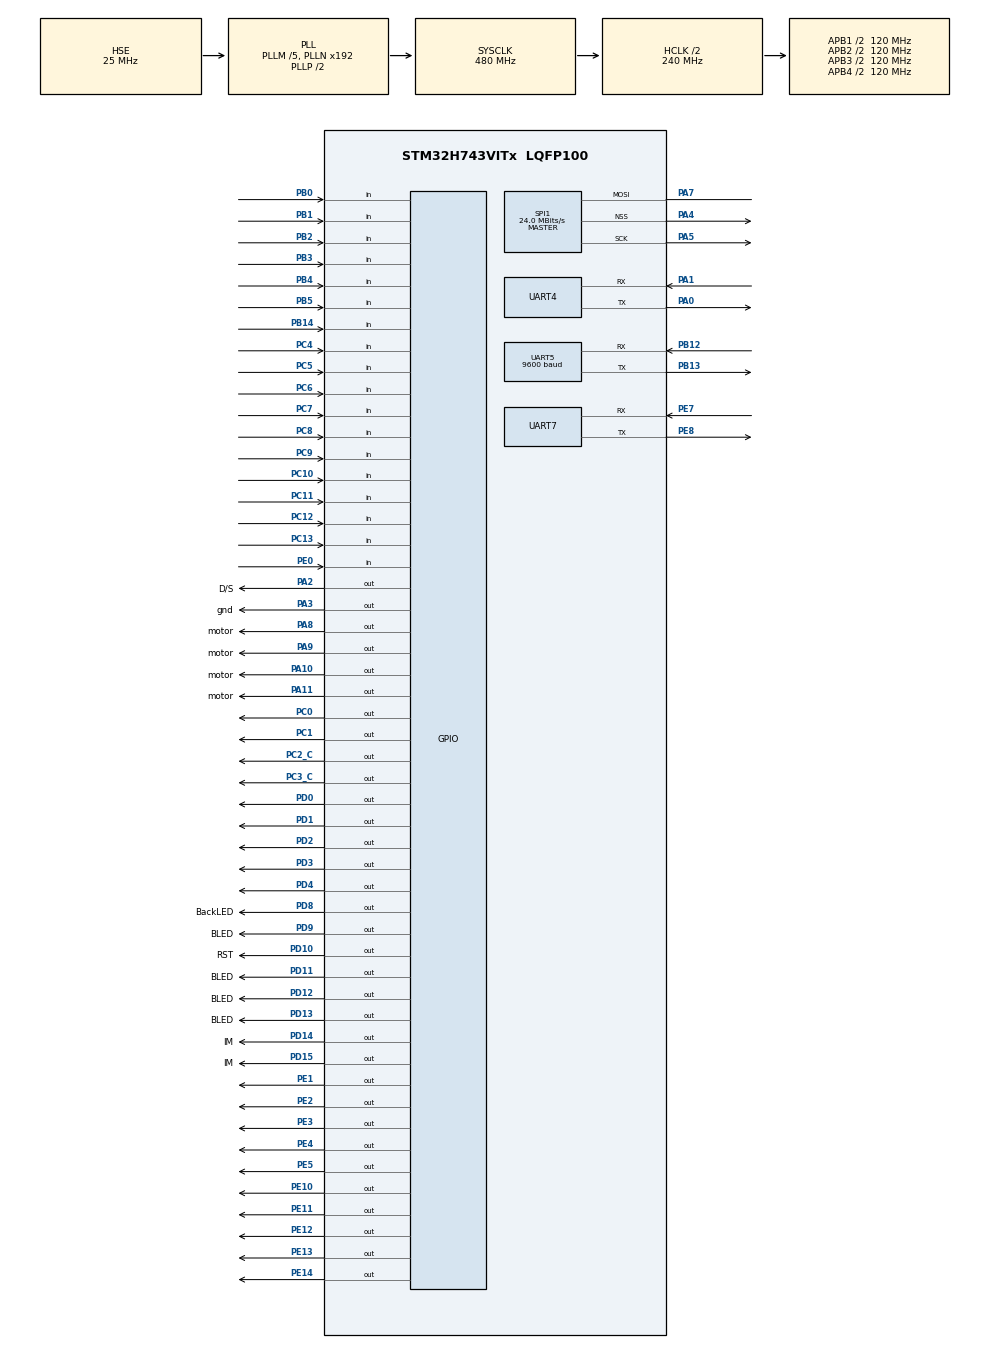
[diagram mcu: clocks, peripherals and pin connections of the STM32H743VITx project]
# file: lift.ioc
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FREERTOS.Tasks01=defaultTask,24,128,StartDefaultTask,Default,NULL,Dynamic,NULL,NULL
Mcu.Family=STM32H7
Mcu.Name=STM32H743VITx
Mcu.Package=LQFP100
NVIC.PriorityGroup=NVIC_PRIORITYGROUP_4
NVIC.UART4_IRQn=true\:5\:0\:false\:false\:true\:true\:true\:true
PA0.Mode=Asynchronous
PA0.Signal=UART4_TX
PA1.Mode=Asynchronous
PA1.Signal=UART4_RX
PA10.GPIO_Label=motor
PA10.Signal=GPIO_Output
PA11.GPIO_Label=motor
PA11.Signal=GPIO_Output
PA2.GPIO_Label=D/S
PA2.Signal=GPIO_Output
PA3.GPIO_Label=gnd
PA3.Signal=GPIO_Output
PA4.Mode=NSS_Signal_Hard_Output
PA4.Signal=SPI1_NSS
PA5.Mode=Simplex_Bidirectional_Master
PA5.Signal=SPI1_SCK
PA7.Mode=Simplex_Bidirectional_Master
PA7.Signal=SPI1_MOSI
PA8.GPIO_Label=motor
PA8.Signal=GPIO_Output
PA9.GPIO_Label=motor
PA9.Signal=GPIO_Output
PB0.Signal=GPIO_Input
PB1.Signal=GPIO_Input
PB12.Mode=Asynchronous
PB12.Signal=UART5_RX
PB13.Mode=Asynchronous
PB13.Signal=UART5_TX
PB14.Signal=GPIO_Input
PB2.Signal=GPIO_Input
PB3\ (JTDO/TRACESWO).Signal=GPIO_Input
PB4\ (NJTRST).Signal=GPIO_Input
PB5.Signal=GPIO_Input
PC0.Signal=GPIO_Output
PC1.Signal=GPIO_Output
PC10.Signal=GPIO_Input
PC11.Signal=GPIO_Input
PC12.Signal=GPIO_Input
PC13.Signal=GPIO_Input
PC2_C.Signal=GPIO_Output
PC3_C.Signal=GPIO_Output
PC4.Signal=GPIO_Input
PC5.Signal=GPIO_Input
PC6.Signal=GPIO_Input
PC7.Signal=GPIO_Input
PC8.Signal=GPIO_Input
PC9.Signal=GPIO_Input
PD0.Signal=GPIO_Output
PD1.Signal=GPIO_Output
PD10.GPIO_Label=RST
PD10.PinState=GPIO_PIN_SET
PD10.Signal=GPIO_Output
PD11.GPIO_Label=BLED
PD11.Signal=GPIO_Output
PD12.GPIO_Label=BLED
PD12.Signal=GPIO_Output
PD13.GPIO_Label=BLED
PD13.Signal=GPIO_Output
PD14.GPIO_Label=IM
PD14.PinState=GPIO_PIN_SET
PD14.Signal=GPIO_Output
PD15.GPIO_Label=IM
PD15.PinState=GPIO_PIN_SET
PD15.Signal=GPIO_Output
PD2.Signal=GPIO_Output
PD3.Signal=GPIO_Output
PD4.Signal=GPIO_Output
PD8.GPIO_Label=BackLED
PD8.Signal=GPIO_Output
PD9.GPIO_Label=BLED
PD9.Signal=GPIO_Output
PE0.Signal=GPIO_Input
PE1.PinState=GPIO_PIN_SET
PE1.Signal=GPIO_Output
PE10.PinState=GPIO_PIN_SET
PE10.Signal=GPIO_Output
PE11.PinState=GPIO_PIN_SET
PE11.Signal=GPIO_Output
PE12.PinState=GPIO_PIN_SET
PE12.Signal=GPIO_Output
PE13.PinState=GPIO_PIN_SET
PE13.Signal=GPIO_Output
PE14.PinState=GPIO_PIN_SET
PE14.Signal=GPIO_Output
PE2.PinState=GPIO_PIN_SET
PE2.Signal=GPIO_Output
PE3.PinState=GPIO_PIN_SET
PE3.Signal=GPIO_Output
PE4.PinState=GPIO_PIN_SET
PE4.Signal=GPIO_Output
PE5.PinState=GPIO_PIN_SET
PE5.Signal=GPIO_Output
PE7.Mode=Asynchronous
PE7.Signal=UART7_RX
PE8.Mode=Asynchronous
PE8.Signal=UART7_TX
PH0-OSC_IN\ (PH0).Mode=HSE-External-Oscillator
PH0-OSC_IN\ (PH0).Signal=RCC_OSC_IN
PH1-OSC_OUT\ (PH1).Mode=HSE-External-Oscillator
PH1-OSC_OUT\ (PH1).Signal=RCC_OSC_OUT
ProjectManager.HeapSize=0x200
ProjectManager.StackSize=0x400
ProjectManager.TargetToolchain=STM32CubeIDE
RCC.ADCFreq_Value=50390625
RCC.APB1Freq_Value=120000000
RCC.APB2Freq_Value=120000000
RCC.APB3Freq_Value=120000000
RCC.APB4Freq_Value=120000000
RCC.CortexFreq_Value=480000000
RCC.D1PPRE=RCC_APB3_DIV2
RCC.D2PPRE1=RCC_APB1_DIV2
RCC.D2PPRE2=RCC_APB2_DIV2
RCC.D3PPRE=RCC_APB4_DIV2
RCC.DIVM1=5
RCC.DIVN1=192
RCC.DIVQ1=20
RCC.HCLKFreq_Value=240000000
RCC.HPRE=RCC_HCLK_DIV2
RCC.PLLSourceVirtual=RCC_PLLSOURCE_HSE
RCC.SYSCLKFreq_VALUE=480000000
RCC.SYSCLKSource=RCC_SYSCLKSOURCE_PLLCLK
RCC.USBFreq_Value=48000000
SPI1.BaudRatePrescaler=SPI_BAUDRATEPRESCALER_2
SPI1.CalculateBaudRate=24.0 MBits/s
SPI1.DataSize=SPI_DATASIZE_8BIT
SPI1.Direction=SPI_DIRECTION_1LINE
SPI1.Mode=SPI_MODE_MASTER
SPI1.NSSPMode=SPI_NSS_PULSE_DISABLE
SPI1.VirtualNSS=VM_NSSHARD
SPI1.VirtualType=VM_MASTER
UART5.BaudRate=9600
VP_FREERTOS_VS_CMSIS_V2.Mode=CMSIS_V2
board=custom

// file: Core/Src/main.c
/* USER CODE BEGIN Header */
/**
  ******************************************************************************
  * @file           : main.c
  * @brief          : Main program body
  ******************************************************************************
  * @attention
  *
  * <h2><center>&copy; Copyright (c) 2022 STMicroelectronics.
  * All rights reserved.</center></h2>
  *
  * This software component is licensed by ST under BSD 3-Clause license,
  * the "License"; You may not use this file except in compliance with the
  * License. You may obtain a copy of the License at:
  *                        opensource.org/licenses/BSD-3-Clause
  *
  ******************************************************************************
  */
/* USER CODE END Header */
#include "main.h"
#include "cmsis_os.h"

SPI_HandleTypeDef hspi1;

UART_HandleTypeDef huart4;
UART_HandleTypeDef huart5;
UART_HandleTypeDef huart7;

/* Definitions for defaultTask */
osThreadId_t defaultTaskHandle;
const osThreadAttr_t defaultTask_attributes = {
  .name = "defaultTask",
  .stack_size = 128 * 4,
  .priority = (osPriority_t) osPriorityNormal,
};
/* USER CODE BEGIN PV */
osThreadId_t liftSchedulerHandle;
const osThreadAttr_t liftScheduler_attr = {
  .name = "defaultTask1",
  .stack_size = 128 * 4,
  .priority = (osPriority_t) osPriorityNormal,
};
osThreadId_t virtualMachineHandle;
const osThreadAttr_t virtualMachine_attr = {
  .name = "virtualMachine",
  .stack_size = 128 * 4,
  .priority = (osPriority_t) osPriorityNormal,
};
osThreadId_t displayHandle;
const osThreadAttr_t display_attr = {
  .name = "display",
  .stack_size = 128 * 4,
  .priority = (osPriority_t) osPriorityNormal,
};
/* USER CODE END PV */

void SystemClock_Config(void);
static void MX_GPIO_Init(void);
static void MX_SPI1_Init(void);
static void MX_UART4_Init(void);
static void MX_UART5_Init(void);
static void MX_UART7_Init(void);
void StartDefaultTask(void *argument);

/* USER CODE BEGIN PFP */
void liftScheduler(void *argument);
void virtualMachine(void* arg);
void display(void* arg);
/* USER CODE END PFP */

/* USER CODE BEGIN 0 */
uint8_t Rx_Data;
void HAL_UART_RxCpltCallback(UART_HandleTypeDef *huart)
{
	extern uint8_t emergency;
	uint8_t x=0x07;
    if(huart->Instance == UART4)
    {
    	if(Rx_Data==0x01){
    		emergency=1;
    		HAL_UART_Transmit(&huart4, &x, 1, 100);
    	}
    }
    HAL_UART_Receive_IT(huart,Rx_Data,1);
}
/* USER CODE END 0 */

int main(void)
{

  /* MCU Configuration--------------------------------------------------------*/

  /* Reset of all peripherals, Initializes the Flash interface and the Systick. */
  HAL_Init();

  /* Configure the system clock */
  SystemClock_Config();

  /* Initialize all configured peripherals */
  MX_GPIO_Init();
  MX_SPI1_Init();
  MX_UART4_Init();
  MX_UART5_Init();
  MX_UART7_Init();
  /* USER CODE BEGIN 2 */

  HAL_UART_Receive_IT(&huart4,&Rx_Data,1);
  /* USER CODE END 2 */

  /* Init scheduler */
  osKernelInitialize();

  /* Create the thread(s) */
  /* creation of defaultTask */
  defaultTaskHandle = osThreadNew(StartDefaultTask, NULL, &defaultTask_attributes);

  /* USER CODE BEGIN RTOS_THREADS */
  /* add threads, ... */
  liftSchedulerHandle=osThreadNew(liftScheduler,NULL,&liftScheduler_attr);
  virtualMachineHandle=osThreadNew(virtualMachine,NULL,&virtualMachine_attr);
  displayHandle=osThreadNew(display, &hspi1, &display_attr);
  /* USER CODE END RTOS_THREADS */

  /* Start scheduler */
  osKernelStart();

  /* We should never get here as control is now taken by the scheduler */
  /* Infinite loop */
  while (1)
  {

  }
}

void SystemClock_Config(void)
{
  RCC_OscInitTypeDef RCC_OscInitStruct = {0};
  RCC_ClkInitTypeDef RCC_ClkInitStruct = {0};

  /** Supply configuration update enable
  */
  HAL_PWREx_ConfigSupply(PWR_LDO_SUPPLY);
  /** Configure the main internal regulator output voltage
  */
  __HAL_PWR_VOLTAGESCALING_CONFIG(PWR_REGULATOR_VOLTAGE_SCALE0);

  while(!__HAL_PWR_GET_FLAG(PWR_FLAG_VOSRDY)) {}
  /** Initializes the RCC Oscillators according to the specified parameters
  * in the RCC_OscInitTypeDef structure.
  */
  RCC_OscInitStruct.OscillatorType = RCC_OSCILLATORTYPE_HSE;
  RCC_OscInitStruct.HSEState = RCC_HSE_ON;
  RCC_OscInitStruct.PLL.PLLState = RCC_PLL_ON;
  RCC_OscInitStruct.PLL.PLLSource = RCC_PLLSOURCE_HSE;
  RCC_OscInitStruct.PLL.PLLM = 5;
  RCC_OscInitStruct.PLL.PLLN = 192;
  RCC_OscInitStruct.PLL.PLLP = 2;
  RCC_OscInitStruct.PLL.PLLQ = 20;
  RCC_OscInitStruct.PLL.PLLR = 2;
  RCC_OscInitStruct.PLL.PLLRGE = RCC_PLL1VCIRANGE_2;
  RCC_OscInitStruct.PLL.PLLVCOSEL = RCC_PLL1VCOWIDE;
  RCC_OscInitStruct.PLL.PLLFRACN = 0;
  if (HAL_RCC_OscConfig(&RCC_OscInitStruct) != HAL_OK)
  {
    Error_Handler();
  }
  /** Initializes the CPU, AHB and APB buses clocks
  */
  RCC_ClkInitStruct.ClockType = RCC_CLOCKTYPE_HCLK|RCC_CLOCKTYPE_SYSCLK
                              |RCC_CLOCKTYPE_PCLK1|RCC_CLOCKTYPE_PCLK2
                              |RCC_CLOCKTYPE_D3PCLK1|RCC_CLOCKTYPE_D1PCLK1;
  RCC_ClkInitStruct.SYSCLKSource = RCC_SYSCLKSOURCE_PLLCLK;
  RCC_ClkInitStruct.SYSCLKDivider = RCC_SYSCLK_DIV1;
  RCC_ClkInitStruct.AHBCLKDivider = RCC_HCLK_DIV2;
  RCC_ClkInitStruct.APB3CLKDivider = RCC_APB3_DIV2;
  RCC_ClkInitStruct.APB1CLKDivider = RCC_APB1_DIV2;
  RCC_ClkInitStruct.APB2CLKDivider = RCC_APB2_DIV2;
  RCC_ClkInitStruct.APB4CLKDivider = RCC_APB4_DIV2;

  if (HAL_RCC_ClockConfig(&RCC_ClkInitStruct, FLASH_LATENCY_4) != HAL_OK)
  {
    Error_Handler();
  }
}

static void MX_SPI1_Init(void)
{

  /* SPI1 parameter configuration*/
  hspi1.Instance = SPI1;
  hspi1.Init.Mode = SPI_MODE_MASTER;
  hspi1.Init.Direction = SPI_DIRECTION_1LINE;
  hspi1.Init.DataSize = SPI_DATASIZE_8BIT;
  hspi1.Init.CLKPolarity = SPI_POLARITY_LOW;
  hspi1.Init.CLKPhase = SPI_PHASE_1EDGE;
  hspi1.Init.NSS = SPI_NSS_HARD_OUTPUT;
  hspi1.Init.BaudRatePrescaler = SPI_BAUDRATEPRESCALER_2;
  hspi1.Init.FirstBit = SPI_FIRSTBIT_MSB;
  hspi1.Init.TIMode = SPI_TIMODE_DISABLE;
  hspi1.Init.CRCCalculation = SPI_CRCCALCULATION_DISABLE;
  hspi1.Init.CRCPolynomial = 0x0;
  hspi1.Init.NSSPMode = SPI_NSS_PULSE_DISABLE;
  hspi1.Init.NSSPolarity = SPI_NSS_POLARITY_LOW;
  hspi1.Init.FifoThreshold = SPI_FIFO_THRESHOLD_01DATA;
  hspi1.Init.TxCRCInitializationPattern = SPI_CRC_INITIALIZATION_ALL_ZERO_PATTERN;
  hspi1.Init.RxCRCInitializationPattern = SPI_CRC_INITIALIZATION_ALL_ZERO_PATTERN;
  hspi1.Init.MasterSSIdleness = SPI_MASTER_SS_IDLENESS_00CYCLE;
  hspi1.Init.MasterInterDataIdleness = SPI_MASTER_INTERDATA_IDLENESS_00CYCLE;
  hspi1.Init.MasterReceiverAutoSusp = SPI_MASTER_RX_AUTOSUSP_DISABLE;
  hspi1.Init.MasterKeepIOState = SPI_MASTER_KEEP_IO_STATE_DISABLE;
  hspi1.Init.IOSwap = SPI_IO_SWAP_DISABLE;
  if (HAL_SPI_Init(&hspi1) != HAL_OK)
  {
    Error_Handler();
  }

}

static void MX_UART4_Init(void)
{

  huart4.Instance = UART4;
  huart4.Init.BaudRate = 115200;
  huart4.Init.WordLength = UART_WORDLENGTH_8B;
  huart4.Init.StopBits = UART_STOPBITS_1;
  huart4.Init.Parity = UART_PARITY_NONE;
  huart4.Init.Mode = UART_MODE_TX_RX;
  huart4.Init.HwFlowCtl = UART_HWCONTROL_NONE;
  huart4.Init.OverSampling = UART_OVERSAMPLING_16;
  huart4.Init.OneBitSampling = UART_ONE_BIT_SAMPLE_DISABLE;
  huart4.Init.ClockPrescaler = UART_PRESCALER_DIV1;
  huart4.AdvancedInit.AdvFeatureInit = UART_ADVFEATURE_NO_INIT;
  if (HAL_UART_Init(&huart4) != HAL_OK)
  {
    Error_Handler();
  }
  if (HAL_UARTEx_SetTxFifoThreshold(&huart4, UART_TXFIFO_THRESHOLD_1_8) != HAL_OK)
  {
    Error_Handler();
  }
  if (HAL_UARTEx_SetRxFifoThreshold(&huart4, UART_RXFIFO_THRESHOLD_1_8) != HAL_OK)
  {
    Error_Handler();
  }
  if (HAL_UARTEx_DisableFifoMode(&huart4) != HAL_OK)
  {
    Error_Handler();
  }

}

static void MX_UART5_Init(void)
{

  huart5.Instance = UART5;
  huart5.Init.BaudRate = 9600;
  huart5.Init.WordLength = UART_WORDLENGTH_8B;
  huart5.Init.StopBits = UART_STOPBITS_1;
  huart5.Init.Parity = UART_PARITY_NONE;
  huart5.Init.Mode = UART_MODE_TX_RX;
  huart5.Init.HwFlowCtl = UART_HWCONTROL_NONE;
  huart5.Init.OverSampling = UART_OVERSAMPLING_16;
  huart5.Init.OneBitSampling = UART_ONE_BIT_SAMPLE_DISABLE;
  huart5.Init.ClockPrescaler = UART_PRESCALER_DIV1;
  huart5.AdvancedInit.AdvFeatureInit = UART_ADVFEATURE_NO_INIT;
  if (HAL_UART_Init(&huart5) != HAL_OK)
  {
    Error_Handler();
  }
  if (HAL_UARTEx_SetTxFifoThreshold(&huart5, UART_TXFIFO_THRESHOLD_1_8) != HAL_OK)
  {
    Error_Handler();
  }
  if (HAL_UARTEx_SetRxFifoThreshold(&huart5, UART_RXFIFO_THRESHOLD_1_8) != HAL_OK)
  {
    Error_Handler();
  }
  if (HAL_UARTEx_DisableFifoMode(&huart5) != HAL_OK)
  {
    Error_Handler();
  }

}

static void MX_UART7_Init(void)
{

  huart7.Instance = UART7;
  huart7.Init.BaudRate = 115200;
  huart7.Init.WordLength = UART_WORDLENGTH_8B;
  huart7.Init.StopBits = UART_STOPBITS_1;
  huart7.Init.Parity = UART_PARITY_NONE;
  huart7.Init.Mode = UART_MODE_TX_RX;
  huart7.Init.HwFlowCtl = UART_HWCONTROL_NONE;
  huart7.Init.OverSampling = UART_OVERSAMPLING_16;
  huart7.Init.OneBitSampling = UART_ONE_BIT_SAMPLE_DISABLE;
  huart7.Init.ClockPrescaler = UART_PRESCALER_DIV1;
  huart7.AdvancedInit.AdvFeatureInit = UART_ADVFEATURE_NO_INIT;
  if (HAL_UART_Init(&huart7) != HAL_OK)
  {
    Error_Handler();
  }
  if (HAL_UARTEx_SetTxFifoThreshold(&huart7, UART_TXFIFO_THRESHOLD_1_8) != HAL_OK)
  {
    Error_Handler();
  }
  if (HAL_UARTEx_SetRxFifoThreshold(&huart7, UART_RXFIFO_THRESHOLD_1_8) != HAL_OK)
  {
    Error_Handler();
  }
  if (HAL_UARTEx_DisableFifoMode(&huart7) != HAL_OK)
  {
    Error_Handler();
  }

}

static void MX_GPIO_Init(void)
{
  GPIO_InitTypeDef GPIO_InitStruct = {0};

  /* GPIO Ports Clock Enable */
  __HAL_RCC_GPIOE_CLK_ENABLE();
  __HAL_RCC_GPIOC_CLK_ENABLE();
  __HAL_RCC_GPIOH_CLK_ENABLE();
  __HAL_RCC_GPIOA_CLK_ENABLE();
  __HAL_RCC_GPIOB_CLK_ENABLE();
  __HAL_RCC_GPIOD_CLK_ENABLE();

  /*Configure GPIO pin Output Level */
  HAL_GPIO_WritePin(GPIOE, GPIO_PIN_2|GPIO_PIN_3|GPIO_PIN_4|GPIO_PIN_5
                          |GPIO_PIN_10|GPIO_PIN_11|GPIO_PIN_12|GPIO_PIN_13
                          |GPIO_PIN_14|GPIO_PIN_1, GPIO_PIN_SET);

  /*Configure GPIO pin Output Level */
  HAL_GPIO_WritePin(GPIOC, GPIO_PIN_0|GPIO_PIN_1|GPIO_PIN_2|GPIO_PIN_3, GPIO_PIN_RESET);

  /*Configure GPIO pin Output Level */
  HAL_GPIO_WritePin(GPIOA, D_S_Pin|gnd_Pin|motor_Pin|motorA9_Pin
                          |motorA10_Pin|motorA11_Pin, GPIO_PIN_RESET);

  /*Configure GPIO pin Output Level */
  HAL_GPIO_WritePin(GPIOD, BackLED_Pin|BLED_Pin|BLEDD11_Pin|BLEDD12_Pin
                          |BLEDD13_Pin|GPIO_PIN_0|GPIO_PIN_1|GPIO_PIN_2
                          |GPIO_PIN_3|GPIO_PIN_4, GPIO_PIN_RESET);

  /*Configure GPIO pin Output Level */
  HAL_GPIO_WritePin(GPIOD, RST_Pin|IM_Pin|IMD15_Pin, GPIO_PIN_SET);

  /*Configure GPIO pins : PE2 PE3 PE4 PE5
                           PE10 PE11 PE12 PE13
                           PE14 PE1 */
  GPIO_InitStruct.Pin = GPIO_PIN_2|GPIO_PIN_3|GPIO_PIN_4|GPIO_PIN_5
                          |GPIO_PIN_10|GPIO_PIN_11|GPIO_PIN_12|GPIO_PIN_13
                          |GPIO_PIN_14|GPIO_PIN_1;
  GPIO_InitStruct.Mode = GPIO_MODE_OUTPUT_PP;
  GPIO_InitStruct.Pull = GPIO_NOPULL;
  GPIO_InitStruct.Speed = GPIO_SPEED_FREQ_LOW;
  HAL_GPIO_Init(GPIOE, &GPIO_InitStruct);

  /*Configure GPIO pins : PC13 PC4 PC5 PC6
                           PC7 PC8 PC9 PC10
                           PC11 PC12 */
  GPIO_InitStruct.Pin = GPIO_PIN_13|GPIO_PIN_4|GPIO_PIN_5|GPIO_PIN_6
                          |GPIO_PIN_7|GPIO_PIN_8|GPIO_PIN_9|GPIO_PIN_10
                          |GPIO_PIN_11|GPIO_PIN_12;
  GPIO_InitStruct.Mode = GPIO_MODE_INPUT;
  GPIO_InitStruct.Pull = GPIO_NOPULL;
  HAL_GPIO_Init(GPIOC, &GPIO_InitStruct);

  /*Configure GPIO pins : PC0 PC1 PC2 PC3 */
  GPIO_InitStruct.Pin = GPIO_PIN_0|GPIO_PIN_1|GPIO_PIN_2|GPIO_PIN_3;
  GPIO_InitStruct.Mode = GPIO_MODE_OUTPUT_PP;
  GPIO_InitStruct.Pull = GPIO_NOPULL;
  GPIO_InitStruct.Speed = GPIO_SPEED_FREQ_LOW;
  HAL_GPIO_Init(GPIOC, &GPIO_InitStruct);

  /*Configure GPIO pins : D_S_Pin gnd_Pin motor_Pin motorA9_Pin
                           motorA10_Pin motorA11_Pin */
  GPIO_InitStruct.Pin = D_S_Pin|gnd_Pin|motor_Pin|motorA9_Pin
                          |motorA10_Pin|motorA11_Pin;
  GPIO_InitStruct.Mode = GPIO_MODE_OUTPUT_PP;
  GPIO_InitStruct.Pull = GPIO_NOPULL;
  GPIO_InitStruct.Speed = GPIO_SPEED_FREQ_LOW;
  HAL_GPIO_Init(GPIOA, &GPIO_InitStruct);

  /*Configure GPIO pins : PB0 PB1 PB2 PB14
                           PB3 PB4 PB5 */
  GPIO_InitStruct.Pin = GPIO_PIN_0|GPIO_PIN_1|GPIO_PIN_2|GPIO_PIN_14
                          |GPIO_PIN_3|GPIO_PIN_4|GPIO_PIN_5;
  GPIO_InitStruct.Mode = GPIO_MODE_INPUT;
  GPIO_InitStruct.Pull = GPIO_NOPULL;
  HAL_GPIO_Init(GPIOB, &GPIO_InitStruct);

  /*Configure GPIO pins : BackLED_Pin BLED_Pin RST_Pin BLEDD11_Pin
                           BLEDD12_Pin BLEDD13_Pin IM_Pin IMD15_Pin
                           PD0 PD1 PD2 PD3
                           PD4 */
  GPIO_InitStruct.Pin = BackLED_Pin|BLED_Pin|RST_Pin|BLEDD11_Pin
                          |BLEDD12_Pin|BLEDD13_Pin|IM_Pin|IMD15_Pin
                          |GPIO_PIN_0|GPIO_PIN_1|GPIO_PIN_2|GPIO_PIN_3
                          |GPIO_PIN_4;
  GPIO_InitStruct.Mode = GPIO_MODE_OUTPUT_PP;
  GPIO_InitStruct.Pull = GPIO_NOPULL;
  GPIO_InitStruct.Speed = GPIO_SPEED_FREQ_LOW;
  HAL_GPIO_Init(GPIOD, &GPIO_InitStruct);

  /*Configure GPIO pin : PE0 */
  GPIO_InitStruct.Pin = GPIO_PIN_0;
  GPIO_InitStruct.Mode = GPIO_MODE_INPUT;
  GPIO_InitStruct.Pull = GPIO_NOPULL;
  HAL_GPIO_Init(GPIOE, &GPIO_InitStruct);

}

/* USER CODE BEGIN 4 */
uint8_t getFloor();
unsigned int getLocation();
/* USER CODE END 4 */

void StartDefaultTask(void *argument)
{
  /* USER CODE BEGIN 5 */
	extern unsigned char buttonPressed[3][5];
	extern uint8_t gateFlag;
	extern uint8_t lcdNeedRst;
	F1_UP_LED(0);
	F2_UP_LED(0);
	F3_UP_LED(0);
	F4_UP_LED(0);
	F2_DOWN_LED(0);
	F3_DOWN_LED(0);
	F4_DOWN_LED(0);
	F5_DOWN_LED(0);
	LIFT_F1_LED(0);
	LIFT_F2_LED(0);
	LIFT_F3_LED(0);
	LIFT_F4_LED(0);
  /* Infinite loop */
  for(;;)
  {
	  uint8_t temp=0x00;
	  uint8_t temp0[3]={0x80,0x80,0x80};
	  uint32_t temp1=0;

	  osDelay(100);
	  if(F1_UP_BTN()) {if(getFloor()==1) gateFlag=1;else buttonPressed[1][0]=1;}
	  if(F2_UP_BTN()) {if(getFloor()==2) gateFlag=1;else buttonPressed[1][1]=1;}
	  if(F3_UP_BTN()) {if(getFloor()==3) gateFlag=1;else buttonPressed[1][2]=1;}
	  if(F4_UP_BTN()) {if(getFloor()==4) gateFlag=1;else buttonPressed[1][3]=1;}

	  if(F2_DOWN_BTN()) {if(getFloor()==2) gateFlag=1;else buttonPressed[2][1]=1;}
	  if(F3_DOWN_BTN()) {if(getFloor()==3) gateFlag=1;else buttonPressed[2][2]=1;}
	  if(F4_DOWN_BTN()) {if(getFloor()==4) gateFlag=1;else buttonPressed[2][3]=1;}
	  if(F5_DOWN_BTN()) {if(getFloor()==5) gateFlag=1;else buttonPressed[2][4]=1;}

	  if(LIFT_F1_BTN()) {if(getFloor()==1) gateFlag=1;else buttonPressed[0][0]=1;}
	  if(LIFT_F2_BTN()) {if(getFloor()==2) gateFlag=1;else buttonPressed[0][1]=1;}
	  if(LIFT_F3_BTN()) {if(getFloor()==3) gateFlag=1;else buttonPressed[0][2]=1;}
	  if(LIFT_F4_BTN()) {if(getFloor()==4) gateFlag=1;else buttonPressed[0][3]=1;}
	  if(LIFT_F5_BTN()) {if(getFloor()==5) gateFlag=1;else buttonPressed[0][4]=1;}

	  uint8_t buff[7]={0x7E,0x05,0x41,0x00,0x0B,0x4F,0xEF};//alarm
	  temp=0x01;
	  HAL_UART_Transmit(&huart4,&temp, 1, 100);
	  temp1=getLocation();
	  temp0[2]=0x80+(uint8_t)(temp1%128);
	  temp1=temp1>>7;
	  temp0[1]=0x80+(uint8_t)(temp1%128);
	  temp0[0]=0x80+(uint8_t)(temp1>>7);
	  HAL_UART_Transmit(&huart4,temp0, 3, 100);

	  if(RST_BTN()) {
		  lcdNeedRst=1;
		  temp=0x04;
		  HAL_UART_Transmit(&huart4,&temp, 1, 100);
		  HAL_UART_Transmit(&huart5, buff, 7, 100);
	  }

	  if(ALM_BTN()) {
		  HAL_UART_Transmit(&huart5, buff, 7, 100);
	  }

	  LIFT_F1_LED(buttonPressed[0][0]);
	  LIFT_F2_LED(buttonPressed[0][1]);
	  LIFT_F3_LED(buttonPressed[0][2]);
	  LIFT_F4_LED(buttonPressed[0][3]);
	  LIFT_F5_LED(buttonPressed[0][4]);
	  F1_UP_LED(buttonPressed[1][0]);
	  F2_UP_LED(buttonPressed[1][1]);
	  F3_UP_LED(buttonPressed[1][2]);
	  F4_UP_LED(buttonPressed[1][3]);
	  F2_DOWN_LED(buttonPressed[2][1]);
	  F3_DOWN_LED(buttonPressed[2][2]);
	  F4_DOWN_LED(buttonPressed[2][3]);
	  F5_DOWN_LED(buttonPressed[2][4]);

  }
  /* USER CODE END 5 */
}

void Error_Handler(void)
{
  __disable_irq();
  while (1)
  {
  }
}

/************************ (C) COPYRIGHT STMicroelectronics *****END OF FILE****/
